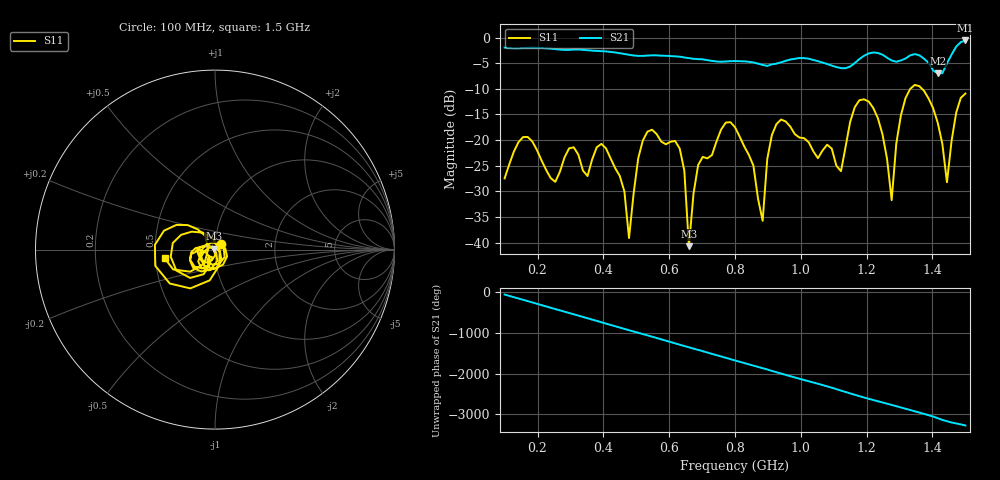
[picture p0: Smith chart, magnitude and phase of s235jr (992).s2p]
! NanoVNA-App
! Date: 2025-09-25 15:11:53
! Start: 100MHz Stop: 1,5GHz Points: 101
! S-Parameter data: F S11 S21 S12 S22
# Hz S RI R 50
!  Frequency  S11_Real  S11_Imag  S21_Real  S21_Imag  S12_Real  S12_Imag  S22_Real  S22_Imag
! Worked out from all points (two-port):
!   101 points, 100 MHz to 1.5 GHz, reference 50 ohm
!   highest |S21| = -0.57 dB at 1.5 GHz (marker M1); lowest = -7.0 dB at 1.416 GHz (marker M2)
!   |S21| within 3 dB of the highest: start of sweep to 504.2 MHz; 522.1 MHz to 592.7 MHz (70.66 MHz wide, 12.7 % of centre)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
!   lowest |S11| = -40.7 dB at 660 MHz (marker M3), VSWR 1.02, Z = 49.3 + j0.568 ohm
!   |S11| at or under -10 dB: start of sweep to 1.333 GHz; 1.368 GHz to end of sweep
!   S12 and S22 are empty: the file has one direction only
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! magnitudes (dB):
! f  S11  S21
! 100 MHz  -27.5  -2.0
! 156 MHz  -19.4  -2.0
! 338 MHz  -25.9  -2.4
! 408 MHz  -21.6  -2.7
! 478 MHz  -39.1  -3.4
! 520 MHz  -20.1  -3.6
! 576 MHz  -20.3  -3.5
! 632 MHz  -21.6  -3.7
! 660 MHz  -40.7  -4.0
! 688 MHz  -24.9  -4.2
! 800 MHz  -17.5  -4.6
! 884 MHz  -35.7  -5.3
! 898 MHz  -23.7  -5.5
! 926 MHz  -16.9  -5.1
! 1.038 GHz  -22.2  -4.4
! 1.122 GHz  -26.1  -6.0
! 1.206 GHz  -12.5  -3.1
! 1.276 GHz  -31.7  -4.5
! 1.332 GHz  -10.0  -3.5
! 1.416 GHz  -16.6  -7.0
! 1.444 GHz  -28.2  -5.0
! 1.5 GHz  -10.9  -0.6
